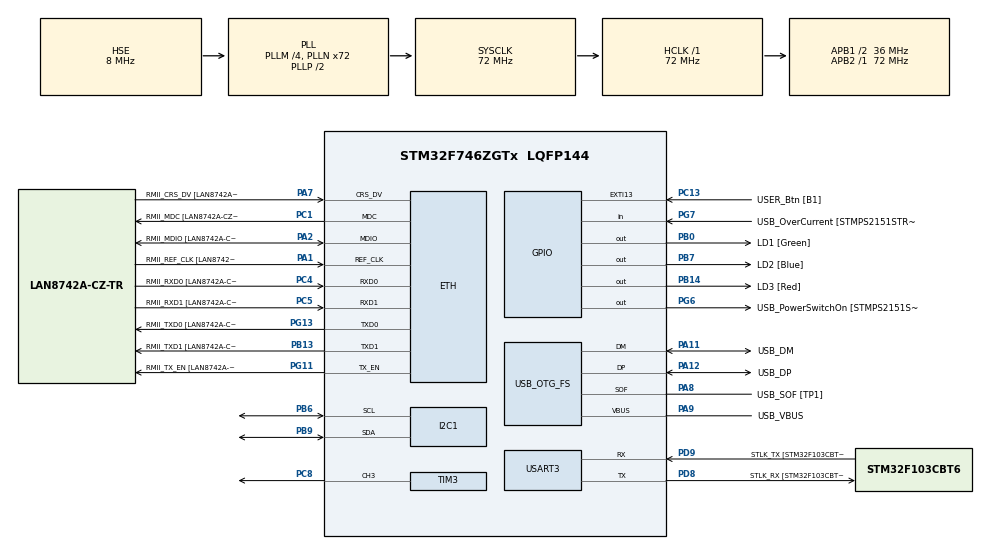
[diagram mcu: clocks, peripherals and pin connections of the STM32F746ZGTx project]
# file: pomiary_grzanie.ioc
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ETH.MediaInterface=HAL_ETH_RMII_MODE
ETH.PHY_Name=LAN8742A_PHY_ADDRESS
ETH.PHY_Value=0
ETH.PhyAddress=0
I2C1.Timing=0x00808CD2
Mcu.Family=STM32F7
Mcu.Name=STM32F746ZGTx
Mcu.Package=LQFP144
NVIC.PriorityGroup=NVIC_PRIORITYGROUP_4
NVIC.TIM2_IRQn=true\:0\:0\:false\:false\:true\:true\:true\:true
NVIC.USART3_IRQn=true\:0\:0\:false\:false\:true\:true\:true\:true
PA1.GPIO_Label=RMII_REF_CLK [LAN8742A-CZ-TR_REFCLK0]
PA1.Mode=RMII
PA1.Signal=ETH_REF_CLK
PA10.GPIO_Label=USB_ID
PA10.Signal=USB_OTG_FS_ID
PA11.GPIO_Label=USB_DM
PA11.Mode=Device_Only
PA11.Signal=USB_OTG_FS_DM
PA12.GPIO_Label=USB_DP
PA12.Mode=Device_Only
PA12.Signal=USB_OTG_FS_DP
PA13.GPIO_Label=TMS
PA13.Mode=Serial_Wire
PA13.Signal=SYS_JTMS-SWDIO
PA14.GPIO_Label=TCK
PA14.Mode=Serial_Wire
PA14.Signal=SYS_JTCK-SWCLK
PA2.GPIO_Label=RMII_MDIO [LAN8742A-CZ-TR_MDIO]
PA2.Mode=RMII
PA2.Signal=ETH_MDIO
PA7.GPIO_Label=RMII_CRS_DV [LAN8742A-CZ-TR_CRS_DV]
PA7.Mode=RMII
PA7.Signal=ETH_CRS_DV
PA8.GPIO_Label=USB_SOF [TP1]
PA8.Mode=Activate_SOF_FS
PA8.Signal=USB_OTG_FS_SOF
PA9.GPIO_Label=USB_VBUS
PA9.Mode=Activate_VBUS
PA9.Signal=USB_OTG_FS_VBUS
PB0.GPIO_Label=LD1 [Green]
PB0.Signal=GPIO_Output
PB13.GPIO_Label=RMII_TXD1 [LAN8742A-CZ-TR_TXD1]
PB13.Mode=RMII
PB13.Signal=ETH_TXD1
PB14.GPIO_Label=LD3 [Red]
PB14.Signal=GPIO_Output
PB3.GPIO_Label=SW0
PB3.Signal=SYS_JTDO-SWO
PB6.Mode=I2C
PB6.Signal=I2C1_SCL
PB7.GPIO_Label=LD2 [Blue]
PB7.Signal=GPIO_Output
PB9.Mode=I2C
PB9.Signal=I2C1_SDA
PC1.GPIO_Label=RMII_MDC [LAN8742A-CZ-TR_MDC]
PC1.Mode=RMII
PC1.Signal=ETH_MDC
PC13.GPIO_Label=USER_Btn [B1]
PC13.Signal=GPXTI13
PC14/OSC32_IN.Mode=LSE-External-Oscillator
PC14/OSC32_IN.Signal=RCC_OSC32_IN
PC15/OSC32_OUT.Mode=LSE-External-Oscillator
PC15/OSC32_OUT.Signal=RCC_OSC32_OUT
PC4.GPIO_Label=RMII_RXD0 [LAN8742A-CZ-TR_RXD0]
PC4.Mode=RMII
PC4.Signal=ETH_RXD0
PC5.GPIO_Label=RMII_RXD1 [LAN8742A-CZ-TR_RXD1]
PC5.Mode=RMII
PC5.Signal=ETH_RXD1
PC6.Signal=S_TIM3_CH1
PC8.Signal=S_TIM3_CH3
PD8.GPIO_Label=STLK_RX [STM32F103CBT6_PA3]
PD8.GPIO_PuPd=GPIO_PULLUP
PD8.Mode=Asynchronous
PD8.Signal=USART3_TX
PD9.GPIO_Label=STLK_TX [STM32F103CBT6_PA2]
PD9.GPIO_PuPd=GPIO_PULLUP
PD9.Mode=Asynchronous
PD9.Signal=USART3_RX
PG11.GPIO_Label=RMII_TX_EN [LAN8742A-CZ-TR_TXEN]
PG11.Mode=RMII
PG11.Signal=ETH_TX_EN
PG13.GPIO_Label=RMII_TXD0 [LAN8742A-CZ-TR_TXD0]
PG13.Mode=RMII
PG13.Signal=ETH_TXD0
PG6.GPIO_Label=USB_PowerSwitchOn [STMPS2151STR_EN]
PG6.Signal=GPIO_Output
PG7.GPIO_Label=USB_OverCurrent [STMPS2151STR_FAULT]
PG7.Signal=GPIO_Input
PH0/OSC_IN.GPIO_Label=MCO [STM32F103CBT6_PA8]
PH0/OSC_IN.Mode=HSE-External-Clock-Source
PH0/OSC_IN.Signal=RCC_OSC_IN
PH1/OSC_OUT.Mode=HSE-External-Clock-Source
PH1/OSC_OUT.Signal=RCC_OSC_OUT
ProjectManager.HeapSize=0x200
ProjectManager.StackSize=0x400
ProjectManager.TargetToolchain=STM32CubeIDE
RCC.48MHZClocksFreq_Value=24000000
RCC.AHBFreq_Value=72000000
RCC.APB1CLKDivider=RCC_HCLK_DIV2
RCC.APB1Freq_Value=36000000
RCC.APB1TimFreq_Value=72000000
RCC.APB2Freq_Value=72000000
RCC.APB2TimFreq_Value=72000000
RCC.CortexFreq_Value=72000000
RCC.HCLKFreq_Value=72000000
RCC.HSE_VALUE=8000000
RCC.HSI_VALUE=16000000
RCC.PLLM=4
RCC.PLLMUL=RCC_PLL_MUL9
RCC.PLLN=72
RCC.PLLQ=3
RCC.PRESCALERUSB=RCC_USBCLKSOURCE_PLL_DIV1_5
RCC.SYSCLKFreq_VALUE=72000000
RCC.SYSCLKSource=RCC_SYSCLKSOURCE_PLLCLK
RCC.SYSCLKSourceVirtual=RCC_SYSCLKSOURCE_PLLCLK
RCC.USBFreq_Value=48000000
RCC.VCOOutputFreq_Value=144000000
SH.S_TIM3_CH1.0=TIM3_CH1
SH.S_TIM3_CH3.0=TIM3_CH3,PWM Generation3 CH3
TIM2.AutoReloadPreload=TIM_AUTORELOAD_PRELOAD_ENABLE
TIM2.Period=1000000
TIM2.Prescaler=71
TIM3.AutoReloadPreload=TIM_AUTORELOAD_PRELOAD_ENABLE
TIM3.Channel-PWM\ Generation3\ CH3=TIM_CHANNEL_3
TIM3.Period=999
TIM3.Prescaler=71
TIM3.Pulse-PWM\ Generation3\ CH3=900
USART3.VirtualMode-Asynchronous=VM_ASYNC
USB_OTG_FS.VirtualMode=Device_Only
VP_TIM2_VS_ClockSourceINT.Mode=Internal
board=NUCLEO-F746ZG

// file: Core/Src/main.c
/* USER CODE BEGIN Header */
/**
  ******************************************************************************
  * @file           : main.c
  * @brief          : Main program body
  ******************************************************************************
  * @attention
  *
  * Copyright (c) 2022 STMicroelectronics.
  * All rights reserved.
  *
  * This software is licensed under terms that can be found in the LICENSE file
  * in the root directory of this software component.
  * If no LICENSE file comes with this software, it is provided AS-IS.
  *
  ******************************************************************************
  */
/* USER CODE END Header */
#include "main.h"
#include "string.h"
#include <stdlib.h>

/* USER CODE BEGIN Includes */
#include "BMPXX80.h"
/* USER CODE END Includes */

#if defined ( __ICCARM__ ) /*!< IAR Compiler */
#pragma location=0x2004c000
ETH_DMADescTypeDef  DMARxDscrTab[ETH_RX_DESC_CNT]; /* Ethernet Rx DMA Descriptors */
#pragma location=0x2004c0a0
ETH_DMADescTypeDef  DMATxDscrTab[ETH_TX_DESC_CNT]; /* Ethernet Tx DMA Descriptors */

#elif defined ( __CC_ARM )  /* MDK ARM Compiler */

__attribute__((at(0x2004c000))) ETH_DMADescTypeDef  DMARxDscrTab[ETH_RX_DESC_CNT]; /* Ethernet Rx DMA Descriptors */
__attribute__((at(0x2004c0a0))) ETH_DMADescTypeDef  DMATxDscrTab[ETH_TX_DESC_CNT]; /* Ethernet Tx DMA Descriptors */

#elif defined ( __GNUC__ ) /* GNU Compiler */
ETH_DMADescTypeDef DMARxDscrTab[ETH_RX_DESC_CNT] __attribute__((section(".RxDecripSection"))); /* Ethernet Rx DMA Descriptors */
ETH_DMADescTypeDef DMATxDscrTab[ETH_TX_DESC_CNT] __attribute__((section(".TxDecripSection")));   /* Ethernet Tx DMA Descriptors */

#endif

ETH_TxPacketConfig TxConfig;

ETH_HandleTypeDef heth;

I2C_HandleTypeDef hi2c1;

TIM_HandleTypeDef htim2;
TIM_HandleTypeDef htim3;

UART_HandleTypeDef huart3;

PCD_HandleTypeDef hpcd_USB_OTG_FS;

/* USER CODE BEGIN PV */
uint8_t key[2] = "";
float H = 0.3;
char text[100] = "";
float desired_temperature = 28;
float temperature = 0;
float pressure = 0;
float error = 0;
float previousError = 0;
float integralError = 0;
float pwm_duty;

//pid params:
float Kp = 0.607338773069937;
float Ki = 0.00245637321622817;
float Kd = 0;
float dt = 1.f;

/* USER CODE END PV */

void SystemClock_Config(void);
static void MX_GPIO_Init(void);
static void MX_ETH_Init(void);
static void MX_USART3_UART_Init(void);
static void MX_USB_OTG_FS_PCD_Init(void);
static void MX_I2C1_Init(void);
static void MX_TIM3_Init(void);
static void MX_TIM2_Init(void);
/* USER CODE BEGIN PFP */
uint32_t map(float x, float in_min, float in_max, uint32_t out_min, uint32_t out_max) {
  return (x - in_min) * (out_max - out_min) / (in_max - in_min) + out_min;
}
/* USER CODE END PFP */

int main(void)
{

  /* MCU Configuration--------------------------------------------------------*/

  /* Reset of all peripherals, Initializes the Flash interface and the Systick. */
  HAL_Init();

  /* Configure the system clock */
  SystemClock_Config();

  /* Initialize all configured peripherals */
  MX_GPIO_Init();
  MX_ETH_Init();
  MX_USART3_UART_Init();
  MX_USB_OTG_FS_PCD_Init();
  MX_I2C1_Init();
  MX_TIM3_Init();
  MX_TIM2_Init();
  /* USER CODE BEGIN 2 */
  HAL_TIM_PWM_Start (&htim3, TIM_CHANNEL_3);
  HAL_TIM_Base_Start_IT(&htim2);
  BMP280_Init(&hi2c1, BMP280_TEMPERATURE_16BIT, BMP280_STANDARD, BMP280_FORCEDMODE);
  HAL_UART_Receive_IT(&huart3, key, 2);
  /* USER CODE END 2 */

  /* Infinite loop */
  while (1)
  {

  }
}

void SystemClock_Config(void)
{
  RCC_OscInitTypeDef RCC_OscInitStruct = {0};
  RCC_ClkInitTypeDef RCC_ClkInitStruct = {0};

  /** Configure LSE Drive Capability
  */
  HAL_PWR_EnableBkUpAccess();

  /** Configure the main internal regulator output voltage
  */
  __HAL_RCC_PWR_CLK_ENABLE();
  __HAL_PWR_VOLTAGESCALING_CONFIG(PWR_REGULATOR_VOLTAGE_SCALE3);

  /** Initializes the RCC Oscillators according to the specified parameters
  * in the RCC_OscInitTypeDef structure.
  */
  RCC_OscInitStruct.OscillatorType = RCC_OSCILLATORTYPE_HSE;
  RCC_OscInitStruct.HSEState = RCC_HSE_BYPASS;
  RCC_OscInitStruct.PLL.PLLState = RCC_PLL_ON;
  RCC_OscInitStruct.PLL.PLLSource = RCC_PLLSOURCE_HSE;
  RCC_OscInitStruct.PLL.PLLM = 4;
  RCC_OscInitStruct.PLL.PLLN = 72;
  RCC_OscInitStruct.PLL.PLLP = RCC_PLLP_DIV2;
  RCC_OscInitStruct.PLL.PLLQ = 3;
  if (HAL_RCC_OscConfig(&RCC_OscInitStruct) != HAL_OK)
  {
    Error_Handler();
  }

  /** Initializes the CPU, AHB and APB buses clocks
  */
  RCC_ClkInitStruct.ClockType = RCC_CLOCKTYPE_HCLK|RCC_CLOCKTYPE_SYSCLK
                              |RCC_CLOCKTYPE_PCLK1|RCC_CLOCKTYPE_PCLK2;
  RCC_ClkInitStruct.SYSCLKSource = RCC_SYSCLKSOURCE_PLLCLK;
  RCC_ClkInitStruct.AHBCLKDivider = RCC_SYSCLK_DIV1;
  RCC_ClkInitStruct.APB1CLKDivider = RCC_HCLK_DIV2;
  RCC_ClkInitStruct.APB2CLKDivider = RCC_HCLK_DIV1;

  if (HAL_RCC_ClockConfig(&RCC_ClkInitStruct, FLASH_LATENCY_2) != HAL_OK)
  {
    Error_Handler();
  }
}

static void MX_ETH_Init(void)
{

   static uint8_t MACAddr[6];

  heth.Instance = ETH;
  MACAddr[0] = 0x00;
  MACAddr[1] = 0x80;
  MACAddr[2] = 0xE1;
  MACAddr[3] = 0x00;
  MACAddr[4] = 0x00;
  MACAddr[5] = 0x00;
  heth.Init.MACAddr = &MACAddr[0];
  heth.Init.MediaInterface = HAL_ETH_RMII_MODE;
  heth.Init.TxDesc = DMATxDscrTab;
  heth.Init.RxDesc = DMARxDscrTab;
  heth.Init.RxBuffLen = 1524;

  if (HAL_ETH_Init(&heth) != HAL_OK)
  {
    Error_Handler();
  }

  memset(&TxConfig, 0 , sizeof(ETH_TxPacketConfig));
  TxConfig.Attributes = ETH_TX_PACKETS_FEATURES_CSUM | ETH_TX_PACKETS_FEATURES_CRCPAD;
  TxConfig.ChecksumCtrl = ETH_CHECKSUM_IPHDR_PAYLOAD_INSERT_PHDR_CALC;
  TxConfig.CRCPadCtrl = ETH_CRC_PAD_INSERT;

}

static void MX_I2C1_Init(void)
{

  hi2c1.Instance = I2C1;
  hi2c1.Init.Timing = 0x00808CD2;
  hi2c1.Init.OwnAddress1 = 0;
  hi2c1.Init.AddressingMode = I2C_ADDRESSINGMODE_7BIT;
  hi2c1.Init.DualAddressMode = I2C_DUALADDRESS_DISABLE;
  hi2c1.Init.OwnAddress2 = 0;
  hi2c1.Init.OwnAddress2Masks = I2C_OA2_NOMASK;
  hi2c1.Init.GeneralCallMode = I2C_GENERALCALL_DISABLE;
  hi2c1.Init.NoStretchMode = I2C_NOSTRETCH_DISABLE;
  if (HAL_I2C_Init(&hi2c1) != HAL_OK)
  {
    Error_Handler();
  }

  /** Configure Analogue filter
  */
  if (HAL_I2CEx_ConfigAnalogFilter(&hi2c1, I2C_ANALOGFILTER_ENABLE) != HAL_OK)
  {
    Error_Handler();
  }

  /** Configure Digital filter
  */
  if (HAL_I2CEx_ConfigDigitalFilter(&hi2c1, 0) != HAL_OK)
  {
    Error_Handler();
  }

}

static void MX_TIM2_Init(void)
{

  TIM_ClockConfigTypeDef sClockSourceConfig = {0};
  TIM_MasterConfigTypeDef sMasterConfig = {0};

  htim2.Instance = TIM2;
  htim2.Init.Prescaler = 71;
  htim2.Init.CounterMode = TIM_COUNTERMODE_UP;
  htim2.Init.Period = 1000000;
  htim2.Init.ClockDivision = TIM_CLOCKDIVISION_DIV1;
  htim2.Init.AutoReloadPreload = TIM_AUTORELOAD_PRELOAD_ENABLE;
  if (HAL_TIM_Base_Init(&htim2) != HAL_OK)
  {
    Error_Handler();
  }
  sClockSourceConfig.ClockSource = TIM_CLOCKSOURCE_INTERNAL;
  if (HAL_TIM_ConfigClockSource(&htim2, &sClockSourceConfig) != HAL_OK)
  {
    Error_Handler();
  }
  sMasterConfig.MasterOutputTrigger = TIM_TRGO_RESET;
  sMasterConfig.MasterSlaveMode = TIM_MASTERSLAVEMODE_DISABLE;
  if (HAL_TIMEx_MasterConfigSynchronization(&htim2, &sMasterConfig) != HAL_OK)
  {
    Error_Handler();
  }

}

static void MX_TIM3_Init(void)
{

  TIM_MasterConfigTypeDef sMasterConfig = {0};
  TIM_OC_InitTypeDef sConfigOC = {0};

  htim3.Instance = TIM3;
  htim3.Init.Prescaler = 71;
  htim3.Init.CounterMode = TIM_COUNTERMODE_UP;
  htim3.Init.Period = 999;
  htim3.Init.ClockDivision = TIM_CLOCKDIVISION_DIV1;
  htim3.Init.AutoReloadPreload = TIM_AUTORELOAD_PRELOAD_ENABLE;
  if (HAL_TIM_PWM_Init(&htim3) != HAL_OK)
  {
    Error_Handler();
  }
  sMasterConfig.MasterOutputTrigger = TIM_TRGO_RESET;
  sMasterConfig.MasterSlaveMode = TIM_MASTERSLAVEMODE_DISABLE;
  if (HAL_TIMEx_MasterConfigSynchronization(&htim3, &sMasterConfig) != HAL_OK)
  {
    Error_Handler();
  }
  sConfigOC.OCMode = TIM_OCMODE_PWM1;
  sConfigOC.Pulse = 900;
  sConfigOC.OCPolarity = TIM_OCPOLARITY_HIGH;
  sConfigOC.OCFastMode = TIM_OCFAST_DISABLE;
  if (HAL_TIM_PWM_ConfigChannel(&htim3, &sConfigOC, TIM_CHANNEL_3) != HAL_OK)
  {
    Error_Handler();
  }
  HAL_TIM_MspPostInit(&htim3);

}

static void MX_USART3_UART_Init(void)
{

  huart3.Instance = USART3;
  huart3.Init.BaudRate = 115200;
  huart3.Init.WordLength = UART_WORDLENGTH_8B;
  huart3.Init.StopBits = UART_STOPBITS_1;
  huart3.Init.Parity = UART_PARITY_NONE;
  huart3.Init.Mode = UART_MODE_TX_RX;
  huart3.Init.HwFlowCtl = UART_HWCONTROL_NONE;
  huart3.Init.OverSampling = UART_OVERSAMPLING_16;
  huart3.Init.OneBitSampling = UART_ONE_BIT_SAMPLE_DISABLE;
  huart3.AdvancedInit.AdvFeatureInit = UART_ADVFEATURE_NO_INIT;
  if (HAL_UART_Init(&huart3) != HAL_OK)
  {
    Error_Handler();
  }

}

static void MX_USB_OTG_FS_PCD_Init(void)
{

  hpcd_USB_OTG_FS.Instance = USB_OTG_FS;
  hpcd_USB_OTG_FS.Init.dev_endpoints = 6;
  hpcd_USB_OTG_FS.Init.speed = PCD_SPEED_FULL;
  hpcd_USB_OTG_FS.Init.dma_enable = DISABLE;
  hpcd_USB_OTG_FS.Init.phy_itface = PCD_PHY_EMBEDDED;
  hpcd_USB_OTG_FS.Init.Sof_enable = ENABLE;
  hpcd_USB_OTG_FS.Init.low_power_enable = DISABLE;
  hpcd_USB_OTG_FS.Init.lpm_enable = DISABLE;
  hpcd_USB_OTG_FS.Init.vbus_sensing_enable = ENABLE;
  hpcd_USB_OTG_FS.Init.use_dedicated_ep1 = DISABLE;
  if (HAL_PCD_Init(&hpcd_USB_OTG_FS) != HAL_OK)
  {
    Error_Handler();
  }

}

static void MX_GPIO_Init(void)
{
  GPIO_InitTypeDef GPIO_InitStruct = {0};

  /* GPIO Ports Clock Enable */
  __HAL_RCC_GPIOC_CLK_ENABLE();
  __HAL_RCC_GPIOH_CLK_ENABLE();
  __HAL_RCC_GPIOA_CLK_ENABLE();
  __HAL_RCC_GPIOB_CLK_ENABLE();
  __HAL_RCC_GPIOD_CLK_ENABLE();
  __HAL_RCC_GPIOG_CLK_ENABLE();

  /*Configure GPIO pin Output Level */
  HAL_GPIO_WritePin(GPIOB, LD1_Pin|LD3_Pin|LD2_Pin, GPIO_PIN_RESET);

  /*Configure GPIO pin Output Level */
  HAL_GPIO_WritePin(USB_PowerSwitchOn_GPIO_Port, USB_PowerSwitchOn_Pin, GPIO_PIN_RESET);

  /*Configure GPIO pin : USER_Btn_Pin */
  GPIO_InitStruct.Pin = USER_Btn_Pin;
  GPIO_InitStruct.Mode = GPIO_MODE_IT_RISING;
  GPIO_InitStruct.Pull = GPIO_NOPULL;
  HAL_GPIO_Init(USER_Btn_GPIO_Port, &GPIO_InitStruct);

  /*Configure GPIO pins : LD1_Pin LD3_Pin LD2_Pin */
  GPIO_InitStruct.Pin = LD1_Pin|LD3_Pin|LD2_Pin;
  GPIO_InitStruct.Mode = GPIO_MODE_OUTPUT_PP;
  GPIO_InitStruct.Pull = GPIO_NOPULL;
  GPIO_InitStruct.Speed = GPIO_SPEED_FREQ_LOW;
  HAL_GPIO_Init(GPIOB, &GPIO_InitStruct);

  /*Configure GPIO pin : USB_PowerSwitchOn_Pin */
  GPIO_InitStruct.Pin = USB_PowerSwitchOn_Pin;
  GPIO_InitStruct.Mode = GPIO_MODE_OUTPUT_PP;
  GPIO_InitStruct.Pull = GPIO_NOPULL;
  GPIO_InitStruct.Speed = GPIO_SPEED_FREQ_LOW;
  HAL_GPIO_Init(USB_PowerSwitchOn_GPIO_Port, &GPIO_InitStruct);

  /*Configure GPIO pin : USB_OverCurrent_Pin */
  GPIO_InitStruct.Pin = USB_OverCurrent_Pin;
  GPIO_InitStruct.Mode = GPIO_MODE_INPUT;
  GPIO_InitStruct.Pull = GPIO_NOPULL;
  HAL_GPIO_Init(USB_OverCurrent_GPIO_Port, &GPIO_InitStruct);

}

/* USER CODE BEGIN 4 */
void HAL_UART_RxCpltCallback(UART_HandleTypeDef *huart)
{
	  desired_temperature = atof(key);
	  HAL_UART_Receive_IT(&huart3, key, 2);
}

void HAL_TIM_PeriodElapsedCallback(TIM_HandleTypeDef* htim)
{
	//declaration of temporary variables
	float uPid = 0.0, derivative, P, I, D;
	//measurment of object
	BMP280_ReadTemperatureAndPressure(&temperature, &pressure);
	//simple error calculations
	error = desired_temperature - temperature;
	integralError += error + previous_error;
	derivative = (error - previousError)/dt;
	//PID calculations according to "wyklad 7"
	P = Kp * error;
	I = Ki * integralError*(dt/2.0);
	D = Kd * derivative;
	//u calculation
	uPid = P + I + D;
	//Saturation
	if(uPid > 1.0)
	{
		uPid = 1.0;
	}
	if(uPid < 0.0)
	{
		uPid = 0.0;
	}
	//u to DUTY conversion
	float duty = uPid * 1000.0;
	pwm_duty = (int) duty;
//	pwm_duty = uPid * 1000;
	//u output
	__HAL_TIM_SET_COMPARE(&htim3, TIM_CHANNEL_3, pwm_duty);
	//logging output
	snprintf(text, sizeof(text), "{\"temperature\":%.2f,\"control\":%.2f,\"desired\":%.2f}\n", temperature, desired_temperature, pwm_duty);
	HAL_UART_Transmit(&huart3, (uint8_t*)text, strlen(text), 1000);
	text[0] = 0;
	//changing last
	previousError = error;
}

/* USER CODE END 4 */

void Error_Handler(void)
{
  __disable_irq();
  while (1)
  {
  }
}
